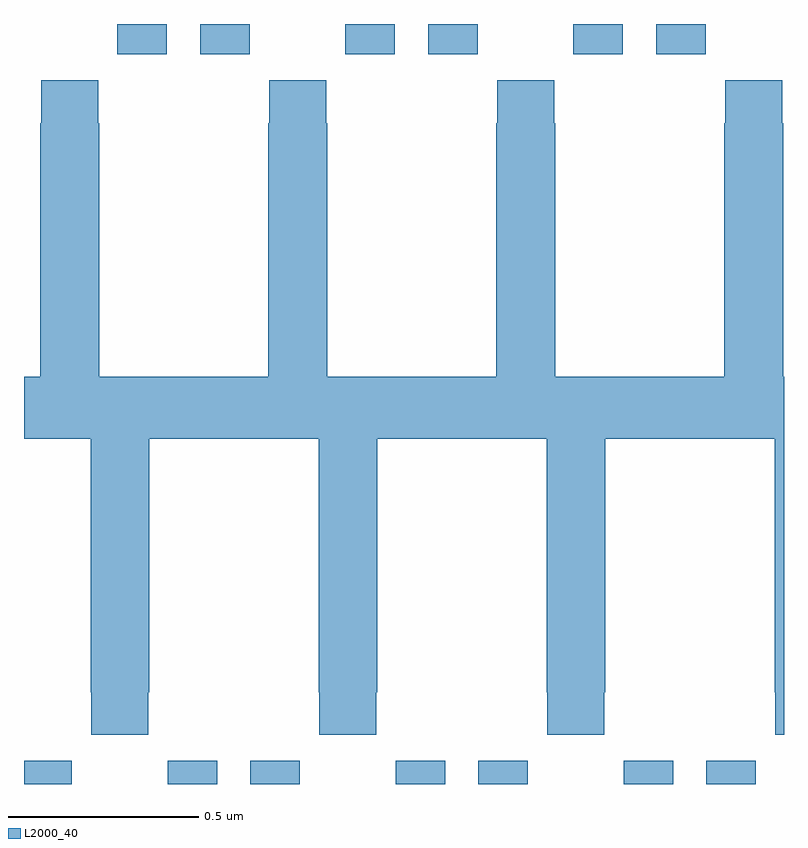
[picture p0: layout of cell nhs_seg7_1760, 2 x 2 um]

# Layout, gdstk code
import gdstk
lib = gdstk.Library(unit=1e-6, precision=1e-09)
def R(c, l, rs):  # rectangles x0, y0, x1, y1
    for r in rs: c.add(gdstk.rectangle(r[:2], r[2:], *l))
def P(c, l, *ps):  # polygons
    for p in ps: c.add(gdstk.Polygon(p, *l))
L2000_40 = (2000, 40)

nhs_seg7_1760 = lib.new_cell('nhs_seg7_1760')
R(nhs_seg7_1760, L2000_40, [(135,1041,135.126,1041.061), (135.378,1041,135.508,1041.061), (135.596,1041,135.726,1041.061), (135.978,1041,136.108,1041.061), (136.196,1041,136.326,1041.061), (136.578,1041,136.708,1041.061), (136.796,1041,136.926,1041.061), (135.246,1042.92,135.376,1043), (135.464,1042.92,135.594,1043), (135.846,1042.92,135.976,1043), (136.064,1042.92,136.194,1043), (136.446,1042.92,136.576,1043), (136.664,1042.92,136.794,1043)])
P(nhs_seg7_1760, L2000_40, [(135.327,1041.241),(135.33,1041.241),(135.33,1041.908),(135.775,1041.908),(135.775,1041.241),(135.777,1041.241),(135.777,1041.129),(135.927,1041.129),(135.927,1041.241),(135.93,1041.241),(135.93,1041.908),(136.375,1041.908),(136.375,1041.241),(136.377,1041.241),(136.377,1041.129),(136.527,1041.129),(136.527,1041.241),(136.53,1041.241),(136.53,1041.908),(136.975,1041.908),(136.975,1041.241),(136.977,1041.241),(136.977,1041.129),(137,1041.129),(137,1042.072),(136.998,1042.072),(136.998,1042.739),(136.995,1042.739),(136.995,1042.852),(136.845,1042.852),(136.845,1042.739),(136.843,1042.739),(136.843,1042.072),(136.398,1042.072),(136.398,1042.739),(136.395,1042.739),(136.395,1042.852),(136.245,1042.852),(136.245,1042.739),(136.243,1042.739),(136.243,1042.072),(135.798,1042.072),(135.798,1042.739),(135.795,1042.739),(135.795,1042.852),(135.645,1042.852),(135.645,1042.739),(135.643,1042.739),(135.643,1042.072),(135.198,1042.072),(135.198,1042.739),(135.195,1042.739),(135.195,1042.852),(135.045,1042.852),(135.045,1042.739),(135.043,1042.739),(135.043,1042.072),(135,1042.072),(135,1041.908),(135.175,1041.908),(135.175,1041.241),(135.177,1041.241),(135.177,1041.129),(135.327,1041.129)])

lib.write_gds('nhs_seg7_1760.gds')
